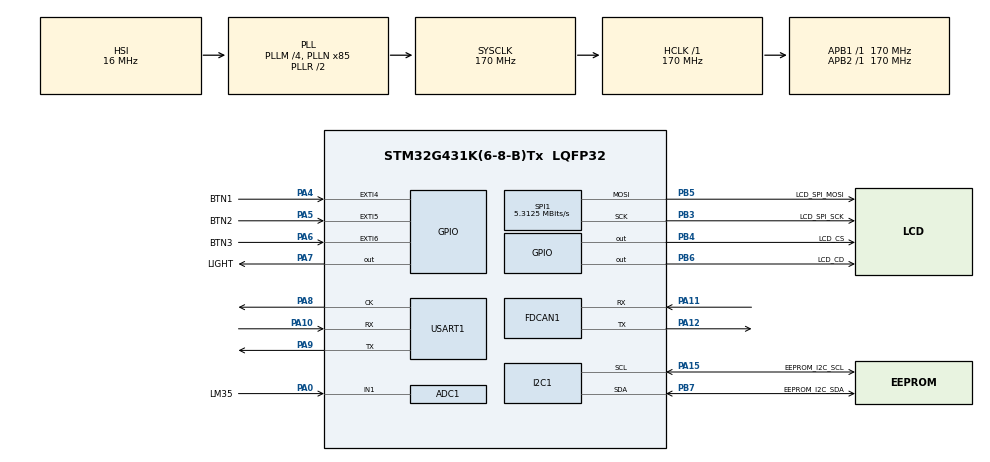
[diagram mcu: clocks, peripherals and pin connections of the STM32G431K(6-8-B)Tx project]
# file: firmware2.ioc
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ADC1.Channel-1\#ChannelRegularConversion=ADC_CHANNEL_1
ADC1.NbrOfConversionFlag=1
ADC1.OffsetNumber-1\#ChannelRegularConversion=ADC_OFFSET_NONE
ADC1.Rank-1\#ChannelRegularConversion=1
ADC1.SamplingTime-1\#ChannelRegularConversion=ADC_SAMPLETIME_2CYCLES_5
ADC1.master=1
FDCAN1.CalculateBaudRateNominal=447368
FDCAN1.CalculateTimeBitNominal=2235
FDCAN1.CalculateTimeQuantumNominal=447.0588235294118
FDCAN1.ClockDivider=FDCAN_CLOCK_DIV1
FDCAN1.NominalPrescaler=76
FDCAN1.NominalTimeSeg1=2
FDCAN1.NominalTimeSeg2=2
I2C1.Timing=0x40B285C2
Mcu.Family=STM32G4
Mcu.Name=STM32G431K(6-8-B)Tx
Mcu.Package=LQFP32
NUCLEO-G431KB.Bsp_Common_DEMO=true
NUCLEO-G431KB.LD2=true
NUCLEO-G431KB.VCP=true
NVIC.PriorityGroup=NVIC_PRIORITYGROUP_4
PA0.GPIO_Label=LM35
PA0.Signal=SharedAnalog_PA0
PA10.Mode=Synchronous
PA10.Signal=USART1_RX
PA11.Mode=FDCAN_Activate
PA11.Signal=FDCAN1_RX
PA12.Mode=FDCAN_Activate
PA12.Signal=FDCAN1_TX
PA15.GPIO_Label=EEPROM_I2C_SCL
PA15.Mode=I2C
PA15.Signal=I2C1_SCL
PA2.Signal=USART2_TX
PA3.Signal=USART2_RX
PA4.GPIO_Label=BTN1
PA4.Signal=GPXTI4
PA5.GPIO_Label=BTN2
PA5.Signal=GPXTI5
PA6.GPIO_Label=BTN3
PA6.Signal=GPXTI6
PA7.GPIO_Label=LIGHT
PA7.Signal=GPIO_Output
PA8.Mode=Synchronous
PA8.Signal=USART1_CK
PA9.Mode=Synchronous
PA9.Signal=USART1_TX
PB3.GPIO_Label=LCD_SPI_SCK
PB3.Mode=TX_Only_Simplex_Unidirect_Master
PB3.Signal=SPI1_SCK
PB4.GPIO_Label=LCD_CS
PB4.Signal=GPIO_Output
PB5.GPIO_Label=LCD_SPI_MOSI
PB5.Mode=TX_Only_Simplex_Unidirect_Master
PB5.Signal=SPI1_MOSI
PB6.GPIO_Label=LCD_CD
PB6.Signal=GPIO_Output
PB7.GPIO_Label=EEPROM_I2C_SDA
PB7.Mode=I2C
PB7.Signal=I2C1_SDA
ProjectManager.HeapSize=0x200
ProjectManager.StackSize=0x400
ProjectManager.TargetToolchain=Makefile
RCC.ADC12Freq_Value=170000000
RCC.AHBFreq_Value=170000000
RCC.APB1Freq_Value=170000000
RCC.APB1TimFreq_Value=170000000
RCC.APB2Freq_Value=170000000
RCC.APB2TimFreq_Value=170000000
RCC.CortexFreq_Value=170000000
RCC.EXTERNAL_CLOCK_VALUE=12288000
RCC.HCLKFreq_Value=170000000
RCC.HSE_VALUE=8000000
RCC.HSI48_VALUE=48000000
RCC.HSI_VALUE=16000000
RCC.LSE_VALUE=32768
RCC.PLLM=RCC_PLLM_DIV4
RCC.PLLN=85
RCC.SYSCLKFreq_VALUE=170000000
RCC.SYSCLKSource=RCC_SYSCLKSOURCE_PLLCLK
RCC.USBFreq_Value=170000000
RCC.VCOOutputFreq_Value=340000000
SH.SharedAnalog_PA0.0=GPIO_Analog
SH.SharedAnalog_PA0.1=ADC1_IN1,IN1-Single-Ended
SPI1.BaudRatePrescaler=SPI_BAUDRATEPRESCALER_32
SPI1.CalculateBaudRate=5.3125 MBits/s
SPI1.DataSize=SPI_DATASIZE_8BIT
SPI1.Direction=SPI_DIRECTION_2LINES
SPI1.Mode=SPI_MODE_MASTER
SPI1.VirtualType=VM_MASTER
USART1.VirtualMode-Synchronous=VM_SYNC
VP_NUCLEO-G431KB_VS_BSP_COMMON.Mode=COMMON
VP_SYS_VS_DBSignals.Mode=DisableDeadBatterySignals
board=NUCLEO-G431KB

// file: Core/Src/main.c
/* USER CODE BEGIN Header */
/**
  ******************************************************************************
  * @file           : main.c
  * @brief          : Main program body
  ******************************************************************************
  * @attention
  *
  * Copyright (c) 2026 STMicroelectronics.
  * All rights reserved.
  *
  * This software is licensed under terms that can be found in the LICENSE file
  * in the root directory of this software component.
  * If no LICENSE file comes with this software, it is provided AS-IS.
  *
  ******************************************************************************
  */
/* USER CODE END Header */
#include "main.h"

/* USER CODE BEGIN Includes */
#include "lcd/lcd_uc1611s_graphics.h"
#include "lcd/lcd_font_small.h"
#include "lcd/lcd_font_medium.h"
#include "lcd/lcd_font_large.h"
#include "screens.h"
#include <stdio.h>
/* USER CODE END Includes */

COM_InitTypeDef BspCOMInit;

ADC_HandleTypeDef hadc1;

FDCAN_HandleTypeDef hfdcan1;

I2C_HandleTypeDef hi2c1;

SPI_HandleTypeDef hspi1;

USART_HandleTypeDef husart1;

void SystemClock_Config(void);
static void MX_GPIO_Init(void);
static void MX_FDCAN1_Init(void);
static void MX_I2C1_Init(void);
static void MX_SPI1_Init(void);
static void MX_USART1_Init(void);
static void MX_ADC1_Init(void);

void welcome_screen();
static screens_data_t demo_data(void);

int main(void)
{

  /* MCU Configuration--------------------------------------------------------*/

  /* Reset of all peripherals, Initializes the Flash interface and the Systick. */
  HAL_Init();

  /* Configure the system clock */
  SystemClock_Config();

  /* Initialize all configured peripherals */
  MX_GPIO_Init();
  MX_FDCAN1_Init();
  MX_I2C1_Init();
  MX_SPI1_Init();
  MX_USART1_Init();
  MX_ADC1_Init();
  /* USER CODE BEGIN 2 */
  lcd_init();
  lcd_fill(0);
  welcome_screen();
  lcd_flush();
  HAL_Delay(1000);

  test_screen();
  lcd_flush();
  HAL_Delay(1000);
  /* USER CODE END 2 */

  /* Initialize leds */
  BSP_LED_Init(LED_GREEN);

  /* Initialize COM1 port (115200, 8 bits (7-bit data + 1 stop bit), no parity */
  BspCOMInit.BaudRate   = 115200;
  BspCOMInit.WordLength = COM_WORDLENGTH_8B;
  BspCOMInit.StopBits   = COM_STOPBITS_1;
  BspCOMInit.Parity     = COM_PARITY_NONE;
  BspCOMInit.HwFlowCtl  = COM_HWCONTROL_NONE;
  if (BSP_COM_Init(COM1, &BspCOMInit) != BSP_ERROR_NONE)
  {
    Error_Handler();
  }

  /* USER CODE BEGIN BSP */

  /* -- Sample board code to send message over COM1 port ---- */
  HAL_Delay(100);
  printf("Welcome to STM32 world !\n\r");

  /* -- Sample board code to switch on leds ---- */
  BSP_LED_On(LED_GREEN);

  /* USER CODE END BSP */

  /* Infinite loop */
  /* USER CODE BEGIN WHILE */
  while (1)
  {

/* -- Sample board code to toggle leds ---- */
       BSP_LED_Toggle(LED_GREEN);

       screens_data_t demo = demo_data();
       main_screen_p1(&demo);
       lcd_flush();
       HAL_Delay(250);

    /* USER CODE END WHILE */

  }
}

void SystemClock_Config(void)
{
  RCC_OscInitTypeDef RCC_OscInitStruct = {0};
  RCC_ClkInitTypeDef RCC_ClkInitStruct = {0};

  /** Configure the main internal regulator output voltage
  */
  HAL_PWREx_ControlVoltageScaling(PWR_REGULATOR_VOLTAGE_SCALE1_BOOST);

  /** Initializes the RCC Oscillators according to the specified parameters
  * in the RCC_OscInitTypeDef structure.
  */
  RCC_OscInitStruct.OscillatorType = RCC_OSCILLATORTYPE_HSI;
  RCC_OscInitStruct.HSIState = RCC_HSI_ON;
  RCC_OscInitStruct.HSICalibrationValue = RCC_HSICALIBRATION_DEFAULT;
  RCC_OscInitStruct.PLL.PLLState = RCC_PLL_ON;
  RCC_OscInitStruct.PLL.PLLSource = RCC_PLLSOURCE_HSI;
  RCC_OscInitStruct.PLL.PLLM = RCC_PLLM_DIV4;
  RCC_OscInitStruct.PLL.PLLN = 85;
  RCC_OscInitStruct.PLL.PLLP = RCC_PLLP_DIV2;
  RCC_OscInitStruct.PLL.PLLQ = RCC_PLLQ_DIV2;
  RCC_OscInitStruct.PLL.PLLR = RCC_PLLR_DIV2;
  if (HAL_RCC_OscConfig(&RCC_OscInitStruct) != HAL_OK)
  {
    Error_Handler();
  }

  /** Initializes the CPU, AHB and APB buses clocks
  */
  RCC_ClkInitStruct.ClockType = RCC_CLOCKTYPE_HCLK|RCC_CLOCKTYPE_SYSCLK
                              |RCC_CLOCKTYPE_PCLK1|RCC_CLOCKTYPE_PCLK2;
  RCC_ClkInitStruct.SYSCLKSource = RCC_SYSCLKSOURCE_PLLCLK;
  RCC_ClkInitStruct.AHBCLKDivider = RCC_SYSCLK_DIV1;
  RCC_ClkInitStruct.APB1CLKDivider = RCC_HCLK_DIV1;
  RCC_ClkInitStruct.APB2CLKDivider = RCC_HCLK_DIV1;

  if (HAL_RCC_ClockConfig(&RCC_ClkInitStruct, FLASH_LATENCY_4) != HAL_OK)
  {
    Error_Handler();
  }
}

static void MX_ADC1_Init(void)
{

  ADC_MultiModeTypeDef multimode = {0};
  ADC_ChannelConfTypeDef sConfig = {0};

  /** Common config
  */
  hadc1.Instance = ADC1;
  hadc1.Init.ClockPrescaler = ADC_CLOCK_SYNC_PCLK_DIV4;
  hadc1.Init.Resolution = ADC_RESOLUTION_12B;
  hadc1.Init.DataAlign = ADC_DATAALIGN_RIGHT;
  hadc1.Init.GainCompensation = 0;
  hadc1.Init.ScanConvMode = ADC_SCAN_DISABLE;
  hadc1.Init.EOCSelection = ADC_EOC_SINGLE_CONV;
  hadc1.Init.LowPowerAutoWait = DISABLE;
  hadc1.Init.ContinuousConvMode = DISABLE;
  hadc1.Init.NbrOfConversion = 1;
  hadc1.Init.DiscontinuousConvMode = DISABLE;
  hadc1.Init.ExternalTrigConv = ADC_SOFTWARE_START;
  hadc1.Init.ExternalTrigConvEdge = ADC_EXTERNALTRIGCONVEDGE_NONE;
  hadc1.Init.DMAContinuousRequests = DISABLE;
  hadc1.Init.Overrun = ADC_OVR_DATA_PRESERVED;
  hadc1.Init.OversamplingMode = DISABLE;
  if (HAL_ADC_Init(&hadc1) != HAL_OK)
  {
    Error_Handler();
  }

  /** Configure the ADC multi-mode
  */
  multimode.Mode = ADC_MODE_INDEPENDENT;
  if (HAL_ADCEx_MultiModeConfigChannel(&hadc1, &multimode) != HAL_OK)
  {
    Error_Handler();
  }

  /** Configure Regular Channel
  */
  sConfig.Channel = ADC_CHANNEL_1;
  sConfig.Rank = ADC_REGULAR_RANK_1;
  sConfig.SamplingTime = ADC_SAMPLETIME_2CYCLES_5;
  sConfig.SingleDiff = ADC_SINGLE_ENDED;
  sConfig.OffsetNumber = ADC_OFFSET_NONE;
  sConfig.Offset = 0;
  if (HAL_ADC_ConfigChannel(&hadc1, &sConfig) != HAL_OK)
  {
    Error_Handler();
  }

}

static void MX_FDCAN1_Init(void)
{

  hfdcan1.Instance = FDCAN1;
  hfdcan1.Init.ClockDivider = FDCAN_CLOCK_DIV1;
  hfdcan1.Init.FrameFormat = FDCAN_FRAME_CLASSIC;
  hfdcan1.Init.Mode = FDCAN_MODE_NORMAL;
  hfdcan1.Init.AutoRetransmission = DISABLE;
  hfdcan1.Init.TransmitPause = DISABLE;
  hfdcan1.Init.ProtocolException = DISABLE;
  hfdcan1.Init.NominalPrescaler = 76;
  hfdcan1.Init.NominalSyncJumpWidth = 1;
  hfdcan1.Init.NominalTimeSeg1 = 2;
  hfdcan1.Init.NominalTimeSeg2 = 2;
  hfdcan1.Init.DataPrescaler = 1;
  hfdcan1.Init.DataSyncJumpWidth = 1;
  hfdcan1.Init.DataTimeSeg1 = 1;
  hfdcan1.Init.DataTimeSeg2 = 1;
  hfdcan1.Init.StdFiltersNbr = 0;
  hfdcan1.Init.ExtFiltersNbr = 0;
  hfdcan1.Init.TxFifoQueueMode = FDCAN_TX_FIFO_OPERATION;
  if (HAL_FDCAN_Init(&hfdcan1) != HAL_OK)
  {
    Error_Handler();
  }

}

static void MX_I2C1_Init(void)
{

  hi2c1.Instance = I2C1;
  hi2c1.Init.Timing = 0x40B285C2;
  hi2c1.Init.OwnAddress1 = 0;
  hi2c1.Init.AddressingMode = I2C_ADDRESSINGMODE_7BIT;
  hi2c1.Init.DualAddressMode = I2C_DUALADDRESS_DISABLE;
  hi2c1.Init.OwnAddress2 = 0;
  hi2c1.Init.OwnAddress2Masks = I2C_OA2_NOMASK;
  hi2c1.Init.GeneralCallMode = I2C_GENERALCALL_DISABLE;
  hi2c1.Init.NoStretchMode = I2C_NOSTRETCH_DISABLE;
  if (HAL_I2C_Init(&hi2c1) != HAL_OK)
  {
    Error_Handler();
  }

  /** Configure Analogue filter
  */
  if (HAL_I2CEx_ConfigAnalogFilter(&hi2c1, I2C_ANALOGFILTER_ENABLE) != HAL_OK)
  {
    Error_Handler();
  }

  /** Configure Digital filter
  */
  if (HAL_I2CEx_ConfigDigitalFilter(&hi2c1, 0) != HAL_OK)
  {
    Error_Handler();
  }

}

static void MX_SPI1_Init(void)
{

  /* SPI1 parameter configuration*/
  hspi1.Instance = SPI1;
  hspi1.Init.Mode = SPI_MODE_MASTER;
  hspi1.Init.Direction = SPI_DIRECTION_2LINES;
  hspi1.Init.DataSize = SPI_DATASIZE_8BIT;
  hspi1.Init.CLKPolarity = SPI_POLARITY_LOW;
  hspi1.Init.CLKPhase = SPI_PHASE_1EDGE;
  hspi1.Init.NSS = SPI_NSS_SOFT;
  hspi1.Init.BaudRatePrescaler = SPI_BAUDRATEPRESCALER_32;
  hspi1.Init.FirstBit = SPI_FIRSTBIT_MSB;
  hspi1.Init.TIMode = SPI_TIMODE_DISABLE;
  hspi1.Init.CRCCalculation = SPI_CRCCALCULATION_DISABLE;
  hspi1.Init.CRCPolynomial = 7;
  hspi1.Init.CRCLength = SPI_CRC_LENGTH_DATASIZE;
  hspi1.Init.NSSPMode = SPI_NSS_PULSE_ENABLE;
  if (HAL_SPI_Init(&hspi1) != HAL_OK)
  {
    Error_Handler();
  }

}

static void MX_USART1_Init(void)
{

  husart1.Instance = USART1;
  husart1.Init.BaudRate = 115200;
  husart1.Init.WordLength = USART_WORDLENGTH_8B;
  husart1.Init.StopBits = USART_STOPBITS_1;
  husart1.Init.Parity = USART_PARITY_NONE;
  husart1.Init.Mode = USART_MODE_TX_RX;
  husart1.Init.CLKPolarity = USART_POLARITY_LOW;
  husart1.Init.CLKPhase = USART_PHASE_1EDGE;
  husart1.Init.CLKLastBit = USART_LASTBIT_DISABLE;
  husart1.Init.ClockPrescaler = USART_PRESCALER_DIV1;
  husart1.SlaveMode = USART_SLAVEMODE_DISABLE;
  if (HAL_USART_Init(&husart1) != HAL_OK)
  {
    Error_Handler();
  }
  if (HAL_USARTEx_SetTxFifoThreshold(&husart1, USART_TXFIFO_THRESHOLD_1_8) != HAL_OK)
  {
    Error_Handler();
  }
  if (HAL_USARTEx_SetRxFifoThreshold(&husart1, USART_RXFIFO_THRESHOLD_1_8) != HAL_OK)
  {
    Error_Handler();
  }
  if (HAL_USARTEx_DisableFifoMode(&husart1) != HAL_OK)
  {
    Error_Handler();
  }

}

static void MX_GPIO_Init(void)
{
  GPIO_InitTypeDef GPIO_InitStruct = {0};

  /* GPIO Ports Clock Enable */
  __HAL_RCC_GPIOA_CLK_ENABLE();
  __HAL_RCC_GPIOB_CLK_ENABLE();

  /*Configure GPIO pin Output Level */
  HAL_GPIO_WritePin(LIGHT_GPIO_Port, LIGHT_Pin, GPIO_PIN_RESET);

  /*Configure GPIO pin Output Level */
  HAL_GPIO_WritePin(GPIOB, LCD_CS_Pin|LCD_CD_Pin, GPIO_PIN_RESET);

  /*Configure GPIO pins : BTN1_Pin BTN2_Pin BTN3_Pin */
  GPIO_InitStruct.Pin = BTN1_Pin|BTN2_Pin|BTN3_Pin;
  GPIO_InitStruct.Mode = GPIO_MODE_IT_RISING;
  GPIO_InitStruct.Pull = GPIO_NOPULL;
  HAL_GPIO_Init(GPIOA, &GPIO_InitStruct);

  /*Configure GPIO pin : LIGHT_Pin */
  GPIO_InitStruct.Pin = LIGHT_Pin;
  GPIO_InitStruct.Mode = GPIO_MODE_OUTPUT_PP;
  GPIO_InitStruct.Pull = GPIO_NOPULL;
  GPIO_InitStruct.Speed = GPIO_SPEED_FREQ_LOW;
  HAL_GPIO_Init(LIGHT_GPIO_Port, &GPIO_InitStruct);

  /*Configure GPIO pins : LCD_CS_Pin LCD_CD_Pin */
  GPIO_InitStruct.Pin = LCD_CS_Pin|LCD_CD_Pin;
  GPIO_InitStruct.Mode = GPIO_MODE_OUTPUT_PP;
  GPIO_InitStruct.Pull = GPIO_NOPULL;
  GPIO_InitStruct.Speed = GPIO_SPEED_FREQ_LOW;
  HAL_GPIO_Init(GPIOB, &GPIO_InitStruct);

}

/* USER CODE BEGIN 4 */

/* Demo trip meters step through readings of 1, 2 and 3 digits, up and back
   down, so every text width the status bar has to fit is actually visible. */
#define TRIP_STEP_MS  1200u
#define DEMO_STEPS    5

static const uint32_t demo_dist_m[]  = { 0, 1200, 12000, 120000, 999900 };
static const uint32_t demo_wh_x10[]  = { 0, 1200, 12000, 120000,  99999 };
static const uint32_t demo_move_s[]  = { 0,   90,   600,   3600,  45296 };

/* Index into a demo table, walking to the end and back. */
static uint32_t demo_triangle(uint32_t tick, uint32_t step_ms)
{
  uint32_t i = (tick / step_ms) % (2 * (DEMO_STEPS - 1));
  return i < DEMO_STEPS ? i : 2 * (DEMO_STEPS - 1) - i;
}

static uint32_t s_rng_state;

static uint32_t rng_next(void)
{
  if (s_rng_state == 0)
    s_rng_state = HAL_GetTick();
  s_rng_state = s_rng_state * 1664525u + 1013904223u;
  return s_rng_state;
}

static int32_t clamp32(int32_t v, int32_t lo, int32_t hi)
{
  if (v < lo) return lo;
  if (v > hi) return hi;
  return v;
}

static screens_data_t demo_data(void)
{
  screens_data_t d;

  /* Speed wanders slowly instead of jumping every frame. */
  static int32_t speed_x10 = 220;
  speed_x10 = clamp32(speed_x10 + (int32_t)(rng_next() % 9) - 4, 0, 550);

  /* Trip meters step through 1, 2 and 3 digit readings; the clock runs at
     half the step rate so the two fields show different widths at times. */
  uint32_t tick = HAL_GetTick();
  uint32_t di = demo_triangle(tick, TRIP_STEP_MS);
  uint32_t ti = demo_triangle(tick + TRIP_STEP_MS, 2 * TRIP_STEP_MS);

  d.speed_x10   = speed_x10;
  d.watts       = speed_x10 / 2 + rng_next() % 60;
  d.temp_c      = 17 + rng_next() % 9;
  d.soc         = 70 + rng_next() % 16;
  d.voltage_x10 = 312 + rng_next() % 16;
  d.range_km    = 40 + rng_next() % 22;
  d.trip_m      = demo_dist_m[di];
  d.trip_wh_x10 = demo_wh_x10[di];
  d.trip_move_s = demo_move_s[ti];
  d.lights_on   = 1;
  d.fault       = 1;
  d.offline     = 1;
  d.alarm       = 1;
  d.page        = 1;
  d.pages       = 2;
  return d;
}

void welcome_screen() {
  lcd_text(10, 10, "ebike controller", font_large);
  lcd_text(10, 40, "by Rafal Rowniak", font_medium);
  lcd_text(10, 65, "v2.0 2026", font_small);
  lcd_text(10, 90, "hardware: STM32G431KB + UC1611S", font_small);
  lcd_text(10, 105, "screen:   240x128 COG LCD", font_small);
}

int _write(int file, char *ptr, int len)
{
  (void)file;
  HAL_UART_Transmit(&hcom_uart[COM1], (uint8_t *)ptr, (uint16_t)len, HAL_MAX_DELAY);
  return len;
}

/* USER CODE END 4 */

/* USER CODE BEGIN Header */
/**
  ******************************************************************************
  * @file           : main.c
  * @brief          : Main program body
  ******************************************************************************
  * @attention
  *
  * Copyright (c) 2026 STMicroelectronics.
  * All rights reserved.
  *
  * This software is licensed under terms that can be found in the LICENSE file
  * in the root directory of this software component.
  * If no LICENSE file comes with this software, it is provided AS-IS.
  *
  ******************************************************************************
  */
/* USER CODE END Header */

void Error_Handler(void)
{
  __disable_irq();
  while (1)
  {
  }
}
